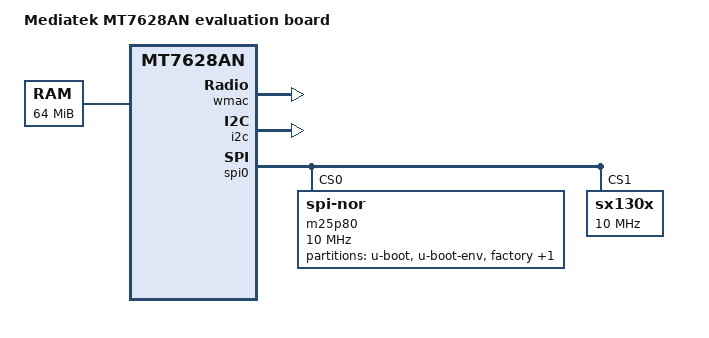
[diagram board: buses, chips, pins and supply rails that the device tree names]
/dts-v1/;

#include "mt7628an.dtsi"

/ {
	compatible = "mediatek,mt7628an-eval-board", "mediatek,mt7628an-soc";
	model = "Mediatek MT7628AN evaluation board";

	memory@0 {
		device_type = "memory";
		reg = <0x0 0x4000000>;
	};

	chosen {
		bootargs = "console=ttyS0,115200";
	};
};

&pinctrl {
	state_default: pinctrl0 {
		gpio {
			ralink,group = "gpio", "spis", "pwm0", "pwm1", "sdmode", "p1led_an", "p2led_an", "p3led_an", "p4led_an", "wled_an", "wdt", "refclk";
			ralink,function = "gpio";
		};
	};
};

&wmac {
	status = "okay";
};

&i2c {
    status = "okay";
};


&spi0 {
	status = "okay";

	m25p80@0 {
		compatible = "jedec,spi-nor";
		reg = <0>;
		spi-max-frequency = <10000000>;

		partitions {
			compatible = "fixed-partitions";
			#address-cells = <1>;
			#size-cells = <1>;

			partition@0 {
				label = "u-boot";
				reg = <0x0 0x30000>;
				read-only;
			};

			partition@30000 {
				label = "u-boot-env";
				reg = <0x30000 0x10000>;
				read-only;
			};

			factory: partition@40000 {
				label = "factory";
				reg = <0x40000 0x10000>;
				read-only;
			};

			partition@50000 {
				compatible = "denx,uimage";
				label = "firmware";
				reg = <0x50000 0xfb0000>;
			};
		};
	};

	sx130x@1 {
		reg = <1 0>;
		spi-max-frequency = <10000000>;
    };
};

&wmac {
	status = "okay";
};
